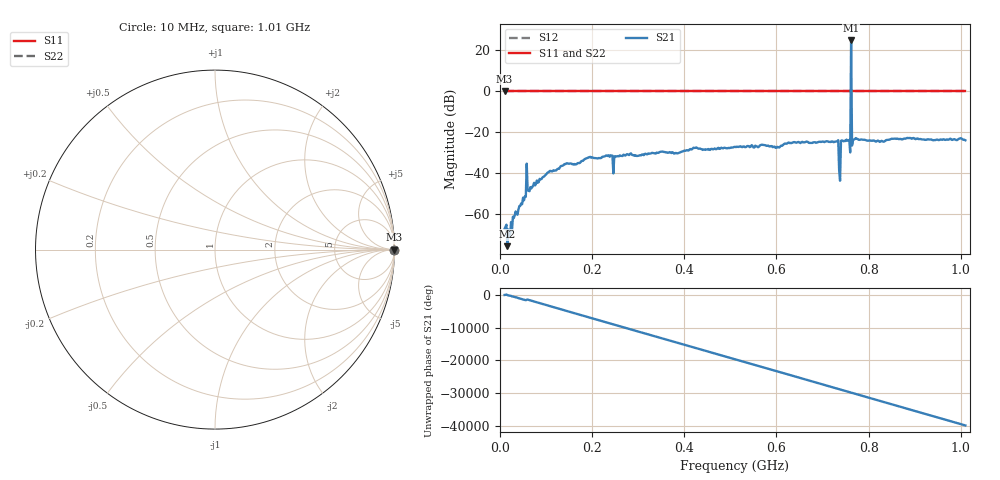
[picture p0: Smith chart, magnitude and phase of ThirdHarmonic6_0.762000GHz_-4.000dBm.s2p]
! 8/16/2025 1:27:35 AM
! C:\ANRITSUVNA\TEMP\TEMP.S2P
! CHANNEL.1
! TR.MEASUREMENT
! RAW.DATA
! RF.CORRECTION.OFF
! AVERAGING.OFF
! IF.BANDWIDTH: 5KHZ
! SWEEPTYPE:  FREQ.SWEEP(Linear)
! Reference Plane Port Info
! PORT:  PORT1  PORT2
! DISTANCE:  0  m  0  m
! TIME:  0  s  0  s
! PHASE.OFFSET:  0  deg.  0  deg.
! LOSS:  0  dB  0  dB
! REF.LOSS:  0  dB  0  dB
! REF.FREQ:  0  Hz  0  Hz
! Power Info
! POWER:  -20  dBm  -20  dBm
! EFF.POWER:  -20  dBm  -20  dBm
! SOURCE.ATTEN:  0  dB  0  dB
! TEST.ATTEN:  0  dB  0  dB
# GHZ S RI R 50.0
! FREQ.GHZ  S11RE  S11IM  S21RE  S21IM  S12RE  S12IM  S22RE  S22IM
!; PortSelection: Port_12
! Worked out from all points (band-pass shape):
!   501 points, 10 MHz to 1.01 GHz, reference 50 ohm
!   highest |S21| = 24.58 dB at 762 MHz (marker M1); lowest = -75.8 dB at 16 MHz (marker M2)
!   |S21| within 3 dB of the highest: 761.8902 MHz to 762.1171 MHz (226.9 kHz wide, 0.0298 % of centre)
!   lowest |S11| = 0.0 dB at 10 MHz (marker M3)
!   |S11| at or under -10 dB: nowhere
!   |S22| runs from 0.0 to 0.0 dB; largest |S21 - S12| = 16
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0.01  1 0  4.16e-05 -0.00043  1 0  1 0
0.016  1 0  -5.91e-05 -0.000151  1 0  1 0
0.02  1 0  -7.47e-05 0.00026  1 0  1 0
0.032  1 0  0.000902 -0.000177  1 0  1 0
0.062  1 0  -0.00307 -0.00194  1 0  1 0
0.064  1 0  -0.00256 0.00247  1 0  1 0
0.106  1 0  -0.00747 -0.00724  1 0  1 0
0.178  1 0  -0.019 -0.00456  1 0  1 0
0.344  1 0  0.0302 -0.00602  1 0  1 0
0.51  1 0  -0.0406 0.0143  1 0  1 0
0.678  1 0  -0.0219 -0.0489  1 0  1 0
0.73  1 0  0.0407 -0.0419  1 0  1 0
0.734  1 0  -0.055 0.0297  1 0  1 0
0.74  1 0  -0.00185 -0.0602  1 0  1 0
0.744  1 0  -0.0181 0.0574  1 0  1 0
0.756  1 0  0.0589 -0.0146  1 0  1 0
0.758  1 0  -0.00405 -0.0632  1 0  1 0
0.762  1 0  12.91 10.97  1 0  1 0
0.766  1 0  0.0328 -0.0536  1 0  1 0
0.768  1 0  -0.0481 -0.0433  1 0  1 0
0.844  1 0  0.0448 0.0458  1 0  1 0
1.01  1 0  -0.06 -0.0163  1 0  1 0
